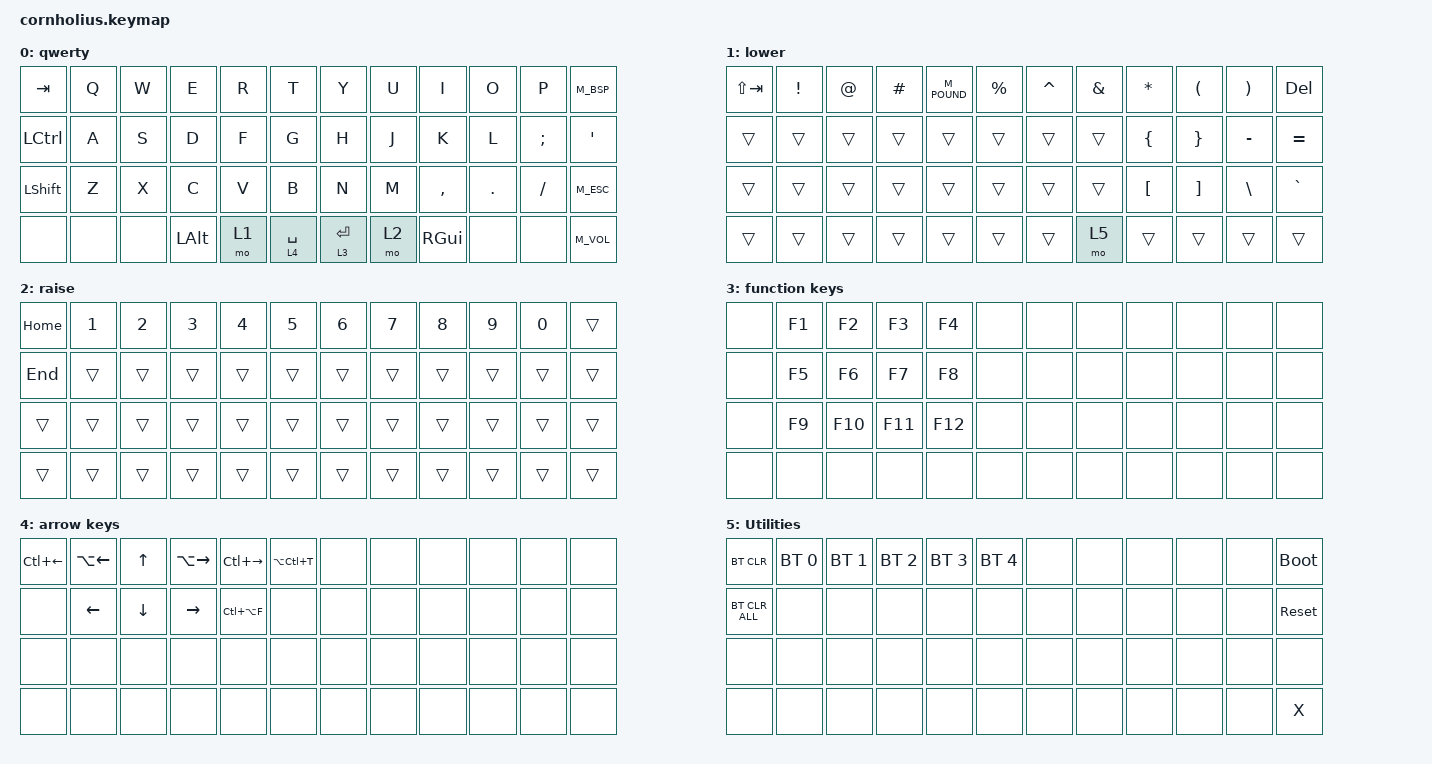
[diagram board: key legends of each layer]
/*
 * Copyright (c) 2024 The ZMK Contributors
 *
 * SPDX-License-Identifier: MIT
 */

#include <behaviors.dtsi>
#include <dt-bindings/zmk/bt.h>
#include <dt-bindings/zmk/keys.h>

#define QWE 0
#define LWR 1
#define RSE 2
#define FUN 3
#define ARW 4
#define UTL 5

/ {
    mod_morphs {
        M_BSP: bspc_or_del {
            compatible = "zmk,behavior-mod-morph";
            #binding-cells = <0>;
            bindings = <&kp BSPC>, <&kp DEL>;

            mods = <(MOD_LSFT)>;
        };

        M_VOL: volup_or_voldn {
            compatible = "zmk,behavior-mod-morph";
            #binding-cells = <0>;
            bindings = <&kp C_VOL_UP>, <&kp C_VOL_DN>;

            mods = <(MOD_LSFT)>;
        };

        M_POUND: dollar_or_pound {
            compatible = "zmk,behavior-mod-morph";
            #binding-cells = <0>;
            bindings = <&kp DOLLAR>, <&uc_pound>;

            mods = <(MOD_LSFT)>;
        };
    };

    tap_dances {
        M_ESC: esc_or_exit {
            compatible = "zmk,behavior-tap-dance";
            label = "ESC_EXIT";
            #binding-cells = <0>;
            bindings = <&kp ESC>, <&kp LA(F4)>;

            tapping-term-ms = <190>;
        };
    };

    macros {
        uc_pound: uc_pound {
            label = "UNICODE_POUND";
            compatible = "zmk,behavior-macro";
            #binding-cells = <0>;
            tap-ms = <0>;
            wait-ms = <0>;
            bindings =
                <&macro_press>,
                <&kp LEFT_ALT>,
                <&macro_tap>,
                <&kp KP_NUMBER_0 &kp KP_NUMBER_1 &kp KP_NUMBER_6 &kp KP_NUMBER_3>,
                <&macro_release>,
                <&kp LEFT_ALT>;
        };
    };
};

/ {
    behaviors {
    };

    keymap {
        compatible = "zmk,keymap";

        default {
            display-name = "qwerty";
            bindings = <
&kp TAB    &kp Q  &kp W  &kp E     &kp R  &kp T          &kp Y        &kp U  &kp I      &kp O    &kp P     &M_BSP
&kp LCTRL  &kp A  &kp S  &kp D     &kp F  &kp G          &kp H        &kp J  &kp K      &kp L    &kp SEMI  &kp SINGLE_QUOTE
&kp LSHFT  &kp Z  &kp X  &kp C     &kp V  &kp B          &kp N        &kp M  &kp COMMA  &kp DOT  &kp FSLH  &M_ESC
&none      &none  &none  &kp LALT  &mo 1  &lt 4 SPACE    &lt 3 ENTER  &mo 2  &kp RGUI   &none    &none     &M_VOL
            >;
        };

        LWR {
            display-name = "lower";
            bindings = <
&kp LS(TAB)  &kp EXCL  &kp AT  &kp HASH  &M_POUND  &kp PERCENT    &kp CARET  &kp AMPS  &kp STAR          &kp LEFT_PARENTHESIS  &kp RIGHT_PARENTHESIS  &kp DEL
&trans       &trans    &trans  &trans    &trans    &trans         &trans     &trans    &kp LEFT_BRACE    &kp RIGHT_BRACE       &kp MINUS              &kp EQUAL
&trans       &trans    &trans  &trans    &trans    &trans         &trans     &trans    &kp LEFT_BRACKET  &kp RIGHT_BRACKET     &kp BACKSLASH          &kp GRAVE
&trans       &trans    &trans  &trans    &trans    &trans         &trans     &mo 5     &trans            &trans                &trans                 &trans
            >;
        };

        RSE {
            display-name = "raise";
            bindings = <
&kp HOME  &kp N1  &kp N2  &kp N3  &kp N4  &kp N5    &kp N6  &kp N7  &kp N8  &kp N9  &kp N0  &trans
&kp END   &trans  &trans  &trans  &trans  &trans    &trans  &trans  &trans  &trans  &trans  &trans
&trans    &trans  &trans  &trans  &trans  &trans    &trans  &trans  &trans  &trans  &trans  &trans
&trans    &trans  &trans  &trans  &trans  &trans    &trans  &trans  &trans  &trans  &trans  &trans
            >;
        };

        FNC {
            display-name = "function keys";
            bindings = <
&none  &kp F1  &kp F2   &kp F3   &kp F4   &none    &none  &none  &none  &none  &none  &none
&none  &kp F5  &kp F6   &kp F7   &kp F8   &none    &none  &none  &none  &none  &none  &none
&none  &kp F9  &kp F10  &kp F11  &kp F12  &none    &none  &none  &none  &none  &none  &none
&none  &none   &none    &none    &none    &none    &none  &none  &none  &none  &none  &none
            >;
        };

        ARW {
            display-name = "arrow keys";
            bindings = <
&kp LC(LEFT_ARROW)  &kp LA(LEFT_ARROW)  &kp UP    &kp LA(RIGHT)  &kp LC(RIGHT_ARROW)  &kp LA(LC(T))    &none  &none  &none  &none  &none  &none
&none               &kp LEFT            &kp DOWN  &kp RIGHT      &kp LC(LA(F))        &none            &none  &none  &none  &none  &none  &none
&none               &none               &none     &none          &none                &none            &none  &none  &none  &none  &none  &none
&none               &none               &none     &none          &none                &none            &none  &none  &none  &none  &none  &none
            >;
        };

        UTIL {
            display-name = "Utilities";
            bindings = <
&bt BT_CLR      &bt BT_SEL 0  &bt BT_SEL 1  &bt BT_SEL 2  &bt BT_SEL 3  &bt BT_SEL 4    &none  &none  &none  &none  &none  &bootloader
&bt BT_CLR_ALL  &none         &none         &none         &none         &none           &none  &none  &none  &none  &none  &sys_reset
&none           &none         &none         &none         &none         &none           &none  &none  &none  &none  &none  &none
&none           &none         &none         &none         &none         &none           &none  &none  &none  &none  &none  &kp X
            >;
        };
    };

    conditional_layers { compatible = "zmk,conditional-layers"; };
};
